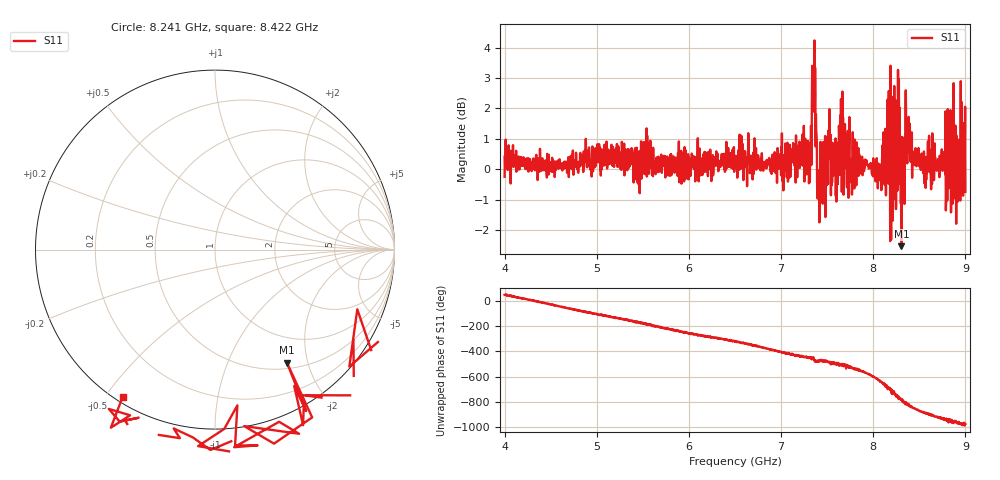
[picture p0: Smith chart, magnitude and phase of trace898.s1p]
! Created with skrf 1.8.0 (http://scikit-rf.org).
# Hz S RI R 50.0
!freq ReS11 ImS11
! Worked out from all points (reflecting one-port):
!   1601 points, 4 GHz to 9 GHz, reference 50 ohm
!   lowest |S11| = -2.5 dB at 8.306 GHz (marker M1), VSWR 6.91, Z = 29.2 - j83.3 ohm
!   phase of S11 starts at 51 deg and turns -1030 deg over the sweep
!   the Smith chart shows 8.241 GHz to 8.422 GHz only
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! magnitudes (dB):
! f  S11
! 4 GHz  -0.2
! 4.625 GHz  0.0
! 4.897 GHz  0.1
! 5.25 GHz  0.1
! 5.875 GHz  -0.1
! 6.5 GHz  0.2
! 7.125 GHz  0.3
! 7.306 GHz  0.3
! 7.344 GHz  1.9
! 7.359 GHz  2.7
! 7.397 GHz  -1.0
! 7.416 GHz  -1.7
! 7.512 GHz  1.3
! 7.591 GHz  1.0
! 7.647 GHz  1.1
! 7.75 GHz  0.2
! 8.066 GHz  0.1
! 8.156 GHz  2.3
! 8.209 GHz  -0.3
! 8.253 GHz  0.4
! 8.306 GHz  -2.5
! 8.375 GHz  0.7
! 8.428 GHz  0.4
! 8.556 GHz  -0.5
! 8.834 GHz  1.1
! 8.919 GHz  -0.1
! 8.972 GHz  0.6
! 9 GHz  -0.7
